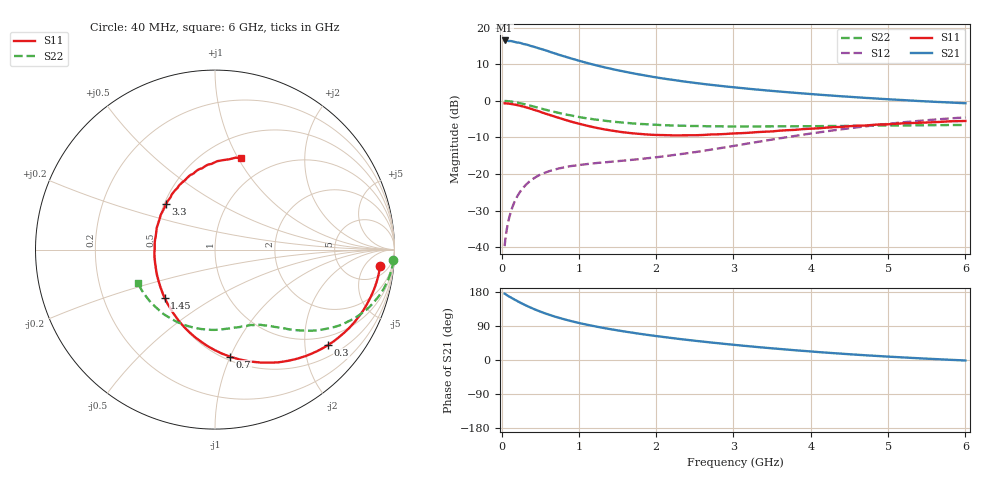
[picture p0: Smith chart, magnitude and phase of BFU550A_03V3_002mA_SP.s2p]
! Filename:  P:\Prog\Test\Noise\ATS_data\Testdata_Net\03 Spar\BFU550A_APG2013_35_C05_03p3V_002mA_SP_CM01_D.s2p
! Date/Time: Tue 16/Apr/2013 15:10:20
! BFU550A_APG2013_35_C05_03p3V_1to35mA_SP_CM01_Bias2_R.s2p
! MDIF S-parameter v. bias file
! BFU530A_APG2013_33_A09_08p0V_015mA_SP_CM01
! Date/time Mon Apr 15 14:22:32 2013
! VAR V_out= 3.3000
! VAR I_out= 1.9900
! VAR V_in= 0.8008
! VAR I_in= 0.0211
! Device data file deembeded for feedlines and parallel
! Original file: \03 Spar\BFU550A_APG2013_35_C05_03p3V_002mA_SP_CM01_R.s2p
! Feed-files: PR017V01_150413_Feed1.s2p, PR017V01_150413_Feed2.s2p
! Parallel-file: PR017V01_150413_Par.s2p
# MHz S MA R 50
!  Freq-MHz  S11-mag  S11-arg  S21-mag  S21-arg  S12-mag  S12-arg  S22-mag  S22-arg
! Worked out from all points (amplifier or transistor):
!   98 points, 40 MHz to 6 GHz, reference 50 ohm
!   highest |S21| = 16.5 dB at 40 MHz (marker M1)
!   |S21| within 3 dB of that: start of sweep to 612.5 MHz
!   unconditionally stable (mu >= 1): 2.031 GHz to 2.916 GHz
!   at 300 MHz: K = 0.21, MSG = 19.4 dB, |S12| = -23.3 dB
!   at 1.6 GHz: K = 0.89, MSG = 12.1 dB, |S12| = -16.3 dB
!   at 6 GHz: K = 0.88, MSG = 1.9 dB, |S12| = -4.5 dB
!   S11 on the Smith chart (normalised r, x): 40 MHz: 10, -13; 300 MHz: 0.76, -2.53; 700 MHz: 0.53, -1.00; 1.45 GHz: 0.50, -0.31; 3.3 GHz: 0.51, +0.30; 6 GHz: 0.73, +1.03
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40  0.9254 -5.6  6.683 175.0  0.01032 86.7  0.9961 -3.3
50  0.9235 -7.1  6.627 174.1  0.01294 85.5  0.9959 -4.2
80  0.9184 -11.3  6.615 169.9  0.0205 83.0  0.9894 -6.7
140  0.9001 -19.6  6.508 162.7  0.03503 78.2  0.9719 -11.5
240  0.8557 -32.8  6.194 151.6  0.05704 70.7  0.9289 -18.8
300  0.8243 -40.1  5.931 145.5  0.06841 66.8  0.8976 -22.7
360  0.7899 -47.4  5.719 139.8  0.07864 63.3  0.866 -26.2
460  0.7314 -58.5  5.315 131.1  0.09296 58.3  0.8131 -31.3
550  0.6787 -68.0  4.968 124.0  0.1029 54.6  0.7649 -35.1
700  0.6028 -81.9  4.417 113.9  0.1159 50.1  0.6995 -40.3
850  0.5387 -94.5  3.937 105.3  0.1255 47.1  0.6449 -44.2
1050  0.4723 -109.6  3.417 95.5  0.1344 45.0  0.5885 -48.3
1250  0.4231 -123.5  3.011 87.2  0.1419 44.2  0.5493 -51.8
1450  0.3883 -136.3  2.691 79.9  0.1481 44.7  0.5183 -54.9
1700  0.3595 -151.2  2.379 71.8  0.1566 46.4  0.4904 -58.7
2050  0.3404 -170.3  2.05 61.9  0.1717 49.4  0.467 -64.1
2500  0.3384 168.0  1.758 50.8  0.1987 53.2  0.4533 -71.9
3100  0.3614 144.0  1.496 38.2  0.2518 56.0  0.4458 -83.7
3300  0.3731 137.2  1.427 34.4  0.273 56.2  0.4468 -87.9
4100  0.4211 113.5  1.215 20.9  0.3697 52.3  0.4507 -106.9
5200  0.493 88.5  1.023 6.7  0.5094 40.5  0.4598 -135.1
6000  0.5301 74.0  0.9258 -1.2  0.5928 29.9  0.468 -156.9
